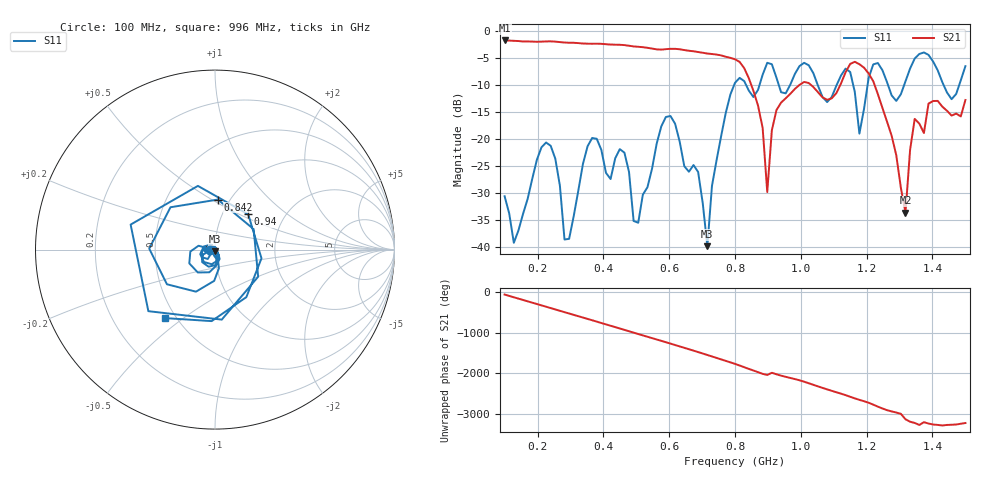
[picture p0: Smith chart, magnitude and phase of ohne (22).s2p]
! NanoVNA-App
! Date: 2025-09-26 09:55:34
! Start: 100MHz Stop: 1,5GHz Points: 101
! S-Parameter data: F S11 S21 S12 S22
# Hz S RI R 50
!  Frequency  S11_Real  S11_Imag  S21_Real  S21_Imag  S12_Real  S12_Imag  S22_Real  S22_Imag
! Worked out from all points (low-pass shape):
!   101 points, 100 MHz to 1.5 GHz, reference 50 ohm
!   highest |S21| = -1.79 dB at 100 MHz (marker M1); lowest = -33.7 dB at 1.318 GHz (marker M2)
!   |S21| within 3 dB of the highest: start of sweep to 771.2 MHz
!   lowest |S11| = -39.9 dB at 716 MHz (marker M3), VSWR 1.02, Z = 49.8 - j0.985 ohm
!   |S11| at or under -10 dB: start of sweep to 797.6 MHz; 833.4 MHz to 874.7 MHz (41.24 MHz wide, 4.83 % of centre); 1.051 GHz to 1.109 GHz (58.02 MHz wide, 5.37 % of centre)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
!   S12 and S22 are empty: the file has one direction only
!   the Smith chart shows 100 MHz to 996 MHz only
!   S11 on the Smith chart (normalised r, x): 100 MHz: 0.94, -0.01; 842 MHz: 0.88, +0.53; 940 MHz: 1.32, +0.56; 996 MHz: 0.44, -0.43
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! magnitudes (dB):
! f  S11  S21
! 100 MHz  -30.6  -1.8
! 128 MHz  -39.2  -1.9
! 226 MHz  -20.7  -2.0
! 296 MHz  -38.5  -2.2
! 338 MHz  -24.7  -2.4
! 464 MHz  -22.6  -2.6
! 506 MHz  -35.5  -3.0
! 576 MHz  -17.7  -3.5
! 688 MHz  -26.1  -3.9
! 716 MHz  -39.9  -4.2
! 800 MHz  -9.6  -5.3
! 842 MHz  -11.1  -8.8
! 898 MHz  -5.9  -29.9
! 940 MHz  -11.4  -13.3
! 996 MHz  -6.5  -10.0
! 1.038 GHz  -7.8  -10.4
! 1.178 GHz  -19.0  -6.2
! 1.22 GHz  -6.2  -9.3
! 1.276 GHz  -12.0  -19.4
! 1.318 GHz  -9.4  -33.7
! 1.346 GHz  -5.1  -16.3
! 1.5 GHz  -6.6  -12.8
